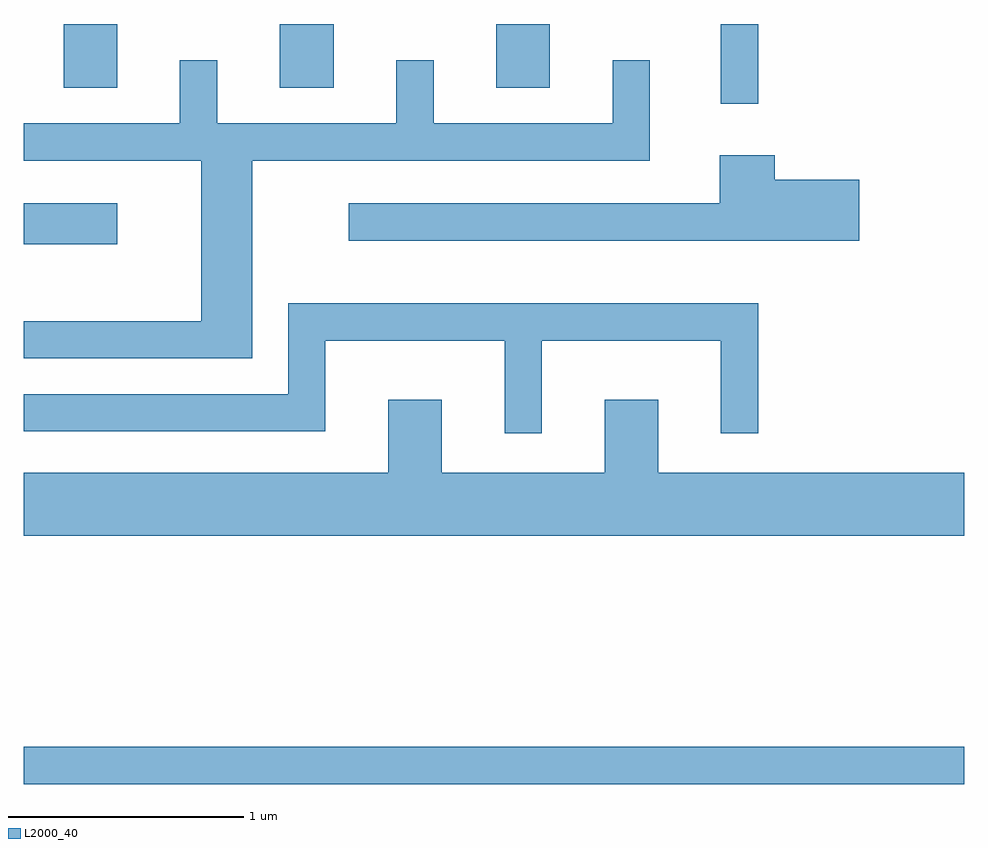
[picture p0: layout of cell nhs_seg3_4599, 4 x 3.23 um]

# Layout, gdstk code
import gdstk
lib = gdstk.Library(unit=1e-6, precision=1e-09)
def R(c, l, rs):  # rectangles x0, y0, x1, y1
    for r in rs: c.add(gdstk.rectangle(r[:2], r[2:], *l))
def A(c, l, x, y, w, h, nx, ny, dx, dy):  # array of equal rectangles
    R(c, l, [(x+i*dx, y+j*dy, x+i*dx+w, y+j*dy+h) for i in range(nx) for j in range(ny)])
def P(c, l, *ps):  # polygons
    for p in ps: c.add(gdstk.Polygon(p, *l))
L2000_40 = (2000, 40)

nhs_seg3_4599 = lib.new_cell('nhs_seg3_4599')
A(nhs_seg3_4599, L2000_40, 319.781, 1205.621, 0.228, 0.271, 3, 1, 0.92, 0)
R(nhs_seg3_4599, L2000_40, [(319.611,1202.661,323.611,1202.819), (319.611,1204.956,320.009,1205.129), (322.576,1205.553,322.734,1205.892)])
P(nhs_seg3_4599, L2000_40, [(320.584,1205.311),(322.274,1205.311),(322.274,1205.738),(322.116,1205.738),(322.116,1205.469),(321.354,1205.469),(321.354,1205.738),(321.196,1205.738),(321.196,1205.469),(320.434,1205.469),(320.434,1205.738),(320.276,1205.738),(320.276,1205.469),(319.611,1205.469),(319.611,1205.311),(320.366,1205.311),(320.366,1204.629),(319.611,1204.629),(319.611,1204.471),(320.584,1204.471)],
  [(323.164,1205.229),(322.804,1205.229),(322.804,1205.334),(322.571,1205.334),(322.571,1205.129),(320.993,1205.129),(320.993,1204.971),(323.164,1204.971)],
  [(321.814,1204.546),(322.576,1204.546),(322.576,1204.153),(322.734,1204.153),(322.734,1204.704),(320.736,1204.704),(320.736,1204.319),(319.611,1204.319),(319.611,1204.161),(320.894,1204.161),(320.894,1204.546),(321.656,1204.546),(321.656,1204.153),(321.814,1204.153)],
  [(323.611,1203.984),(322.309,1203.984),(322.309,1204.294),(322.081,1204.294),(322.081,1203.984),(321.389,1203.984),(321.389,1204.294),(321.161,1204.294),(321.161,1203.984),(319.611,1203.984),(319.611,1203.716),(323.611,1203.716)])

lib.write_gds('nhs_seg3_4599.gds')
